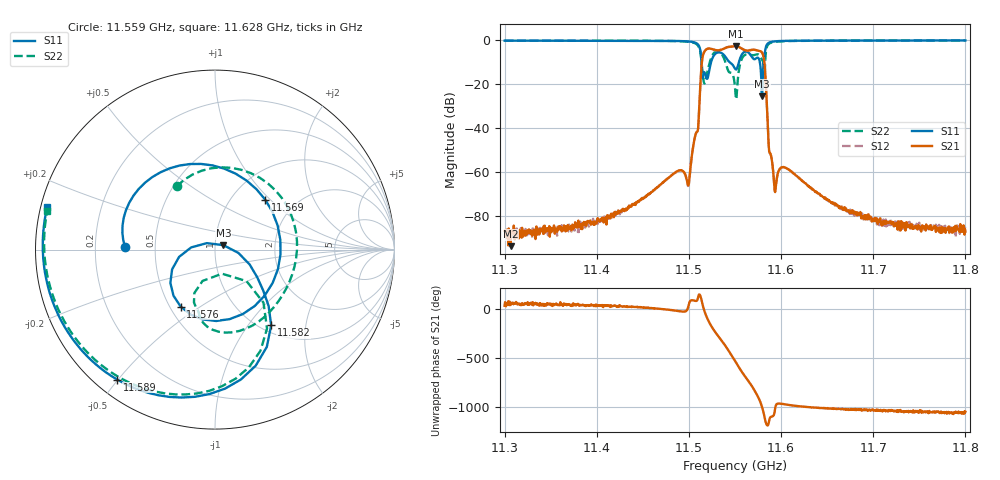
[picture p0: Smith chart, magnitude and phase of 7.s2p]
# Hz S DB R 50
! Planar, S50244, 24171007, 25.4.1/6
! Date: 15.10.2025 10:26:12
! Data: Format (Calibration Info)
! Freq	S11:dB/Ang(F2)	S21:dB/Ang(F2)	S12:dB/Ang(F2)	S22:dB/Ang(F2)
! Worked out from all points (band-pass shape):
!   1001 points, 11.3 GHz to 11.8 GHz, reference 50 ohm
!   highest |S21| = -2.82 dB at 11.551 GHz (marker M1); lowest = -93.6 dB at 11.306 GHz (marker M2)
!   |S21| within 3 dB of the highest: 11.516 GHz to 11.58 GHz (63.41 MHz wide, 0.549 % of centre)
!   lowest |S11| = -25.5 dB at 11.579 GHz (marker M3), VSWR 1.11, Z = 54.8 + j2.75 ohm
!   |S11| at or under -10 dB: 11.51359 GHz to 11.52408 GHz (10.49 MHz wide, 0.091 % of centre); 11.54395 GHz to 11.55431 GHz (10.36 MHz wide, 0.0897 % of centre); 11.57691 GHz to 11.58125 GHz (4.34 MHz wide, 0.0375 % of centre)
!   |S22| runs from -26.9 to -0.2 dB; largest |S21 - S12| = 0.014
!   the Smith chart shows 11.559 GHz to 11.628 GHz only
!   S11 on the Smith chart (normalised r, x): 11.559 GHz: 0.33, +0.01; 11.569 GHz: 1.42, +0.93; 11.576 GHz: 0.57, -0.42; 11.582 GHz: 1.11, -1.30; 11.589 GHz: 0.06, -0.50; 11.628 GHz: 0.02, +0.13
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1.13e10  -0.32 144.9  -86.68 28.3  -89.10 74.2  -0.32 143.1
1.13065e10  -0.32 143.7  -93.56 35.5  -89.40 41.3  -0.31 142.0
1.13835e10  -0.33 126.2  -83.66 32.3  -85.16 42.1  -0.32 126.2
1.1467e10  -0.37 86.4  -66.42 -1.2  -66.40 -1.5  -0.38 93.3
1.1499e10  -0.65 29.7  -65.90 9.3  -66.25 9.6  -0.77 50.4
1.15105e10  -2.39 -49.6  -36.59 133.5  -36.60 134.1  -3.01 -16.4
1.15165e10  -14.58 -81.4  -5.46 -16.8  -5.50 -16.8  -19.59 -132.6
1.1525e10  -8.80 42.2  -4.12 170.7  -4.24 170.7  -7.27 102.5
1.15385e10  -7.05 -138.7  -3.81 -3.5  -3.67 -3.3  -8.80 -34.5
1.15445e10  -10.19 -169.1  -3.08 -89.1  -3.07 -89.1  -14.79 178.5
1.155e10  -13.01 -175.8  -2.84 -170.5  -2.80 -170.4  -21.40 44.0
1.1551e10  -13.40 -169.8  -2.82 174.1  -2.78 174.1  -26.62 -10.6
1.15585e10  -6.00 178.2  -4.23 62.8  -4.20 63.1  -7.72 121.2
1.1569e10  -8.08 44.7  -4.43 -77.1  -4.41 -77.9  -6.90 -17.7
1.1576e10  -8.62 -121.2  -4.95 164.1  -4.91 163.9  -6.78 -87.4
1.15795e10  -25.51 28.1  -5.81 76.6  -5.86 75.9  -9.08 -105.8
1.15825e10  -5.59 -53.5  -13.14 -43.2  -13.20 -42.8  -12.10 -45.0
1.15895e10  -0.86 -126.9  -53.28 -17.3  -53.27 -17.1  -1.20 -118.0
1.1628e10  -0.32 165.6  -65.69 81.6  -65.59 81.5  -0.37 167.2
1.16335e10  -0.31 161.8  -67.74 75.2  -67.64 77.9  -0.35 163.0
1.1717e10  -0.25 130.1  -82.93 50.7  -81.53 37.9  -0.25 129.4
1.18e10  -0.22 112.6  -86.94 33.1  -85.42 17.8  -0.22 112.2
